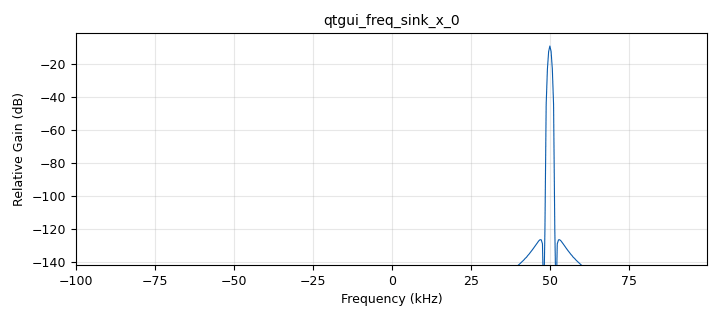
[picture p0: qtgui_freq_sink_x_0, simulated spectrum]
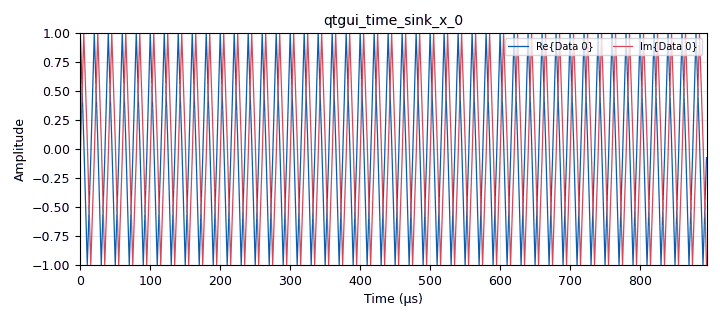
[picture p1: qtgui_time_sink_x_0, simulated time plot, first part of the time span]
<?xml version='1.0' encoding='utf-8'?>
<?grc format='1' created='3.7.11'?>
<flow_graph>
<block>
<key>options</key>
<param><key>id</key><value>simple_x310_grc</value></param>
<param><key>generate_options</key><value>qt_gui</value></param>
</block>
<block>
<key>variable</key>
<param><key>id</key><value>samp_rate</value></param>
<param><key>value</key><value>200e3</value></param>
</block>
<block>
<key>analog_random_source_x</key>
<param><key>id</key><value>analog_random_source_x_0</value></param>
<param><key>max</key><value>255</value></param>
<param><key>min</key><value>0</value></param>
<param><key>num_samps</key><value>1000</value></param>
<param><key>type</key><value>byte</value></param>
<param><key>repeat</key><value>True</value></param>
</block>
<block>
<key>analog_sig_source_x</key>
<param><key>id</key><value>analog_sig_source_x_0</value></param>
<param><key>amp</key><value>1</value></param>
<param><key>freq</key><value>250e3</value></param>
<param><key>offset</key><value>0</value></param>
<param><key>type</key><value>complex</value></param>
<param><key>samp_rate</key><value>samp_rate</value></param>
<param><key>waveform</key><value>analog.GR_COS_WAVE</value></param>
</block>
<block>
<key>blocks_null_sink</key>
<param><key>id</key><value>blocks_null_sink_0</value></param>
<param><key>bus_conns</key><value>[[0,],]</value></param>
<param><key>type</key><value>byte</value></param>
</block>
<block>
<key>qtgui_freq_sink_x</key>
<param><key>id</key><value>qtgui_freq_sink_x_0</value></param>
<param><key>autoscale</key><value>True</value></param>
<param><key>bw</key><value>samp_rate</value></param>
<param><key>fc</key><value>0</value></param>
<param><key>fftsize</key><value>512</value></param>
<param><key>showports</key><value>True</value></param>
<param><key>type</key><value>complex</value></param>
<param><key>wintype</key><value>firdes.WIN_BLACKMAN_hARRIS</value></param>
</block>
<block>
<key>qtgui_time_sink_x</key>
<param><key>id</key><value>qtgui_time_sink_x_0</value></param>
<param><key>color1</key><value>"blue"</value></param>
<param><key>label1</key><value></value></param>
<param><key>color2</key><value>"red"</value></param>
<param><key>label2</key><value></value></param>
<param><key>size</key><value>1024</value></param>
<param><key>srate</key><value>samp_rate</value></param>
<param><key>type</key><value>complex</value></param>
</block>
<block>
<key>uhd_usrp_sink</key>
<param><key>id</key><value>uhd_usrp_sink_0</value></param>
<param><key>ant0</key><value></value></param>
<param><key>center_freq0</key><value>440e6</value></param>
<param><key>norm_gain0</key><value>False</value></param>
<param><key>gain0</key><value>10</value></param>
<param><key>clock_rate</key><value>0.0</value></param>
<param><key>dev_args</key><value>""</value></param>
<param><key>type</key><value>fc32</value></param>
<param><key>samp_rate</key><value>samp_rate</value></param>
<param><key>hide_cmd_port</key><value>False</value></param>
<param><key>hide_lo_controls</key><value>True</value></param>
<param><key>sync</key><value></value></param>
<param><key>len_tag_name</key><value></value></param>
</block>
<connection><source_block_id>analog_random_source_x_0</source_block_id><sink_block_id>blocks_null_sink_0</sink_block_id><source_key>0</source_key><sink_key>0</sink_key></connection>
<connection><source_block_id>analog_sig_source_x_0</source_block_id><sink_block_id>qtgui_freq_sink_x_0</sink_block_id><source_key>0</source_key><sink_key>0</sink_key></connection>
<connection><source_block_id>analog_sig_source_x_0</source_block_id><sink_block_id>qtgui_time_sink_x_0</sink_block_id><source_key>0</source_key><sink_key>0</sink_key></connection>
<connection><source_block_id>analog_sig_source_x_0</source_block_id><sink_block_id>uhd_usrp_sink_0</sink_block_id><source_key>0</source_key><sink_key>0</sink_key></connection>
</flow_graph>
